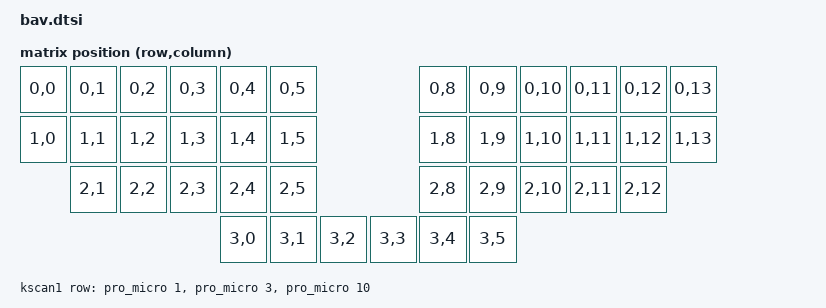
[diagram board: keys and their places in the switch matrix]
/*
 * Copyright (c) 2020 The ZMK Contributors
 *
 * SPDX-License-Identifier: MIT
 */
#include <dt-bindings/zmk/matrix_transform.h>

/ {
    chosen {
        zmk,kscan = &kscan0;
        zmk,matrix_transform = &default_transform;
    };

    kscan0: kscan_composite {
        compatible = "zmk,kscan-composite";
        label = "KSCAN0";
        rows = <4>;
        columns = <6>;

        matrix {
            kscan = <&kscan1>;
        };

        direct {
            kscan = <&kscan2>;
            row-offset = <3>;
        };

    };

    kscan1: kscan_matrix {
        compatible = "zmk,kscan-gpio-matrix";
        diode-direction = "col2row";
        
        row-gpios
            = <&pro_micro 1 (GPIO_ACTIVE_HIGH | GPIO_PULL_DOWN)>
            , <&pro_micro 3 (GPIO_ACTIVE_HIGH | GPIO_PULL_DOWN)>
            , <&pro_micro 10 (GPIO_ACTIVE_HIGH | GPIO_PULL_DOWN)>
            ;
    };

    kscan2: kscan_direct {
        compatible = "zmk,kscan-gpio-direct";
    };

    default_transform: matrix_transform {
        compatible = "zmk,matrix-transform";
        rows = <4>;
        columns = <14>;

        map = <
RC(0,0) RC(0,1) RC(0,2) RC(0,3) RC(0,4) RC(0,5)                 RC(0,8) RC(0,9) RC(0,10) RC(0,11) RC(0,12) RC(0,13)
RC(1,0) RC(1,1) RC(1,2) RC(1,3) RC(1,4) RC(1,5)                 RC(1,8) RC(1,9) RC(1,10) RC(1,11) RC(1,12) RC(1,13)
        RC(2,1) RC(2,2) RC(2,3) RC(2,4) RC(2,5)                 RC(2,8) RC(2,9) RC(2,10) RC(2,11) RC(2,12)
                                RC(3,0) RC(3,1) RC(3,2) RC(3,3) RC(3,4) RC(3,5)
            >;
    };
};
